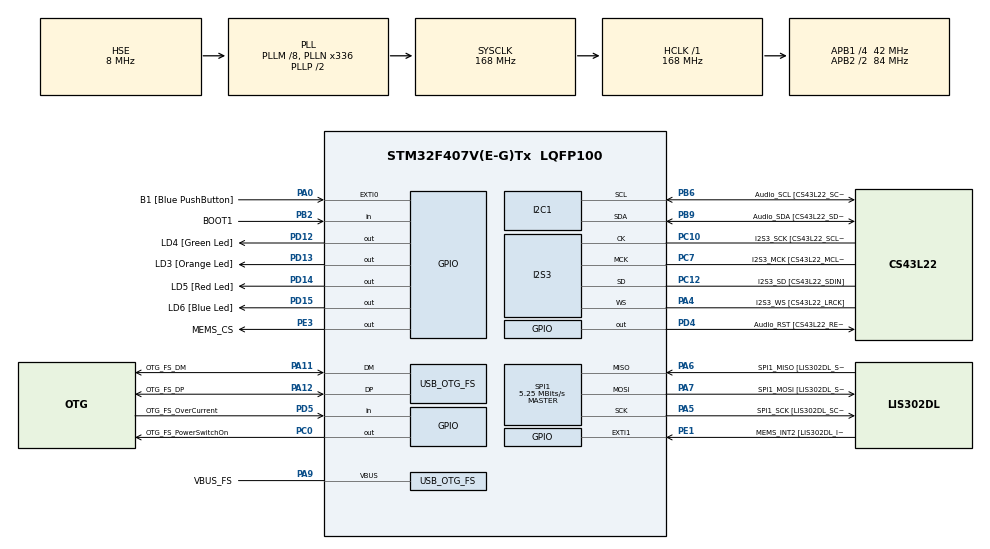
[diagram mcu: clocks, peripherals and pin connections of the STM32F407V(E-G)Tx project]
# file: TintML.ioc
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I2S3.AudioFreq-Half_Duplex_Master=I2S_AUDIOFREQ_96K
I2S3.ErrorAudioFreq=-2.34 %
I2S3.ErrorAudioFreq-Half_Duplex_Master=0.8 %
I2S3.FullDuplexMode=I2S_FULLDUPLEXMODE_DISABLE
I2S3.Instance=SPI$Index
I2S3.RealAudioFreq=93.75 KHz
I2S3.RealAudioFreq-Half_Duplex_Master=96.774 KHz
I2S3.VirtualMode=I2S_MODE_MASTER
Mcu.Family=STM32F4
Mcu.Name=STM32F407V(E-G)Tx
Mcu.Package=LQFP100
NVIC.OTG_FS_IRQn=true\:0\:0\:false\:false\:true\:true\:true\:true
NVIC.PriorityGroup=NVIC_PRIORITYGROUP_0
PA0-WKUP.GPIO_Label=B1 [Blue PushButton]
PA0-WKUP.GPIO_ModeDefaultEXTI=GPIO_MODE_EVT_RISING
PA0-WKUP.GPIO_PuPd=GPIO_NOPULL
PA0-WKUP.Signal=GPXTI0
PA10.GPIO_Label=OTG_FS_ID
PA10.GPIO_Mode=GPIO_MODE_AF_PP
PA10.GPIO_PuPd=GPIO_NOPULL
PA10.GPIO_Speed=GPIO_SPEED_FREQ_LOW
PA10.Signal=USB_OTG_FS_ID
PA11.GPIO_Label=OTG_FS_DM
PA11.GPIO_Mode=GPIO_MODE_AF_PP
PA11.GPIO_PuPd=GPIO_NOPULL
PA11.GPIO_Speed=GPIO_SPEED_FREQ_LOW
PA11.Mode=Device_Only
PA11.Signal=USB_OTG_FS_DM
PA12.GPIO_Label=OTG_FS_DP
PA12.GPIO_Mode=GPIO_MODE_AF_PP
PA12.GPIO_PuPd=GPIO_NOPULL
PA12.GPIO_Speed=GPIO_SPEED_FREQ_LOW
PA12.Mode=Device_Only
PA12.Signal=USB_OTG_FS_DP
PA13.GPIO_Label=SWDIO
PA13.Mode=Serial_Wire
PA13.Signal=SYS_JTMS-SWDIO
PA14.GPIO_Label=SWCLK
PA14.Mode=Serial_Wire
PA14.Signal=SYS_JTCK-SWCLK
PA4.GPIO_Label=I2S3_WS [CS43L22_LRCK]
PA4.GPIO_Mode=GPIO_MODE_AF_PP
PA4.GPIO_PuPd=GPIO_NOPULL
PA4.GPIO_Speed=GPIO_SPEED_FREQ_LOW
PA4.Mode=Half_Duplex_Master
PA4.Signal=I2S3_WS
PA5.GPIO_Label=SPI1_SCK [LIS302DL_SCL/SPC]
PA5.GPIO_Mode=GPIO_MODE_AF_PP
PA5.GPIO_PuPd=GPIO_NOPULL
PA5.GPIO_Speed=GPIO_SPEED_FREQ_LOW
PA5.Mode=Full_Duplex_Master
PA5.Signal=SPI1_SCK
PA6.GPIO_Label=SPI1_MISO [LIS302DL_SDO]
PA6.GPIO_Mode=GPIO_MODE_AF_PP
PA6.GPIO_PuPd=GPIO_NOPULL
PA6.GPIO_Speed=GPIO_SPEED_FREQ_LOW
PA6.Mode=Full_Duplex_Master
PA6.Signal=SPI1_MISO
PA7.GPIO_Label=SPI1_MOSI [LIS302DL_SDA/SDI/SDO]
PA7.GPIO_Mode=GPIO_MODE_AF_PP
PA7.GPIO_PuPd=GPIO_NOPULL
PA7.GPIO_Speed=GPIO_SPEED_FREQ_LOW
PA7.Mode=Full_Duplex_Master
PA7.Signal=SPI1_MOSI
PA9.GPIO_Label=VBUS_FS
PA9.GPIO_Mode=GPIO_MODE_INPUT
PA9.GPIO_PuPd=GPIO_NOPULL
PA9.Mode=Activate_VBUS
PA9.Signal=USB_OTG_FS_VBUS
PB10.GPIO_Label=CLK_IN [MP45DT02_CLK]
PB10.GPIO_Mode=GPIO_MODE_AF_PP
PB10.GPIO_PuPd=GPIO_NOPULL
PB10.GPIO_Speed=GPIO_SPEED_FREQ_LOW
PB10.Signal=I2S2_CK
PB2.GPIO_Label=BOOT1
PB2.GPIO_Mode=GPIO_MODE_INPUT
PB2.GPIO_PuPd=GPIO_NOPULL
PB2.Signal=GPIO_Input
PB3.GPIO_Label=SWO
PB3.Signal=SYS_JTDO-SWO
PB6.GPIO_Label=Audio_SCL [CS43L22_SCL]
PB6.GPIO_Mode=GPIO_MODE_AF_OD
PB6.GPIO_Pu=GPIO_PULLUP
PB6.GPIO_PuPd=GPIO_NOPULL
PB6.GPIO_Speed=GPIO_SPEED_FREQ_LOW
PB6.Mode=I2C
PB6.Signal=I2C1_SCL
PB9.GPIO_Label=Audio_SDA [CS43L22_SDA]
PB9.GPIO_Mode=GPIO_MODE_AF_OD
PB9.GPIO_Pu=GPIO_PULLUP
PB9.GPIO_PuPd=GPIO_NOPULL
PB9.GPIO_Speed=GPIO_SPEED_FREQ_LOW
PB9.Mode=I2C
PB9.Signal=I2C1_SDA
PC0.GPIO_Label=OTG_FS_PowerSwitchOn
PC0.GPIO_PuPd=GPIO_NOPULL
PC0.GPIO_Speed=GPIO_SPEED_FREQ_LOW
PC0.PinState=GPIO_PIN_SET
PC0.Signal=GPIO_Output
PC10.GPIO_Label=I2S3_SCK [CS43L22_SCLK]
PC10.GPIO_Mode=GPIO_MODE_AF_PP
PC10.GPIO_PuPd=GPIO_NOPULL
PC10.GPIO_Speed=GPIO_SPEED_FREQ_LOW
PC10.Mode=Half_Duplex_Master
PC10.Signal=I2S3_CK
PC12.GPIO_Label=I2S3_SD [CS43L22_SDIN]
PC12.GPIO_Mode=GPIO_MODE_AF_PP
PC12.GPIO_PuPd=GPIO_NOPULL
PC12.GPIO_Speed=GPIO_SPEED_FREQ_LOW
PC12.Mode=Half_Duplex_Master
PC12.Signal=I2S3_SD
PC14-OSC32_IN.GPIO_Label=PC14-OSC32_IN
PC14-OSC32_IN.Mode=LSE-External-Oscillator
PC14-OSC32_IN.Signal=RCC_OSC32_IN
PC15-OSC32_OUT.GPIO_Label=PC15-OSC32_OUT
PC15-OSC32_OUT.Mode=LSE-External-Oscillator
PC15-OSC32_OUT.Signal=RCC_OSC32_OUT
PC3.GPIO_Label=PDM_OUT [MP45DT02_DOUT]
PC3.GPIO_Mode=GPIO_MODE_AF_PP
PC3.GPIO_PuPd=GPIO_NOPULL
PC3.GPIO_Speed=GPIO_SPEED_FREQ_LOW
PC3.Signal=I2S2_SD
PC7.GPIO_Label=I2S3_MCK [CS43L22_MCLK]
PC7.GPIO_Mode=GPIO_MODE_AF_PP
PC7.GPIO_PuPd=GPIO_NOPULL
PC7.GPIO_Speed=GPIO_SPEED_FREQ_LOW
PC7.Mode=Master_Clock_Activated
PC7.Signal=I2S3_MCK
PD12.GPIO_Label=LD4 [Green Led]
PD12.GPIO_PuPd=GPIO_NOPULL
PD12.GPIO_Speed=GPIO_SPEED_FREQ_LOW
PD12.Signal=GPIO_Output
PD13.GPIO_Label=LD3 [Orange Led]
PD13.GPIO_PuPd=GPIO_NOPULL
PD13.GPIO_Speed=GPIO_SPEED_FREQ_LOW
PD13.Signal=GPIO_Output
PD14.GPIO_Label=LD5 [Red Led]
PD14.GPIO_PuPd=GPIO_NOPULL
PD14.GPIO_Speed=GPIO_SPEED_FREQ_LOW
PD14.Signal=GPIO_Output
PD15.GPIO_Label=LD6 [Blue Led]
PD15.GPIO_PuPd=GPIO_NOPULL
PD15.GPIO_Speed=GPIO_SPEED_FREQ_LOW
PD15.Signal=GPIO_Output
PD4.GPIO_Label=Audio_RST [CS43L22_RESET]
PD4.GPIO_PuPd=GPIO_NOPULL
PD4.GPIO_Speed=GPIO_SPEED_FREQ_LOW
PD4.Signal=GPIO_Output
PD5.GPIO_Label=OTG_FS_OverCurrent
PD5.GPIO_Mode=GPIO_MODE_INPUT
PD5.GPIO_PuPd=GPIO_NOPULL
PD5.Signal=GPIO_Input
PE1.GPIO_Label=MEMS_INT2 [LIS302DL_INT2]
PE1.GPIO_ModeDefaultEXTI=GPIO_MODE_EVT_RISING
PE1.GPIO_PuPd=GPIO_NOPULL
PE1.Signal=GPXTI1
PE3.GPIO_Label=MEMS_CS
PE3.Signal=GPIO_Output
PH0-OSC_IN.GPIO_Label=PH0-OSC_IN
PH0-OSC_IN.Mode=HSE-External-Oscillator
PH0-OSC_IN.Signal=RCC_OSC_IN
PH1-OSC_OUT.GPIO_Label=PH1-OSC_OUT
PH1-OSC_OUT.Mode=HSE-External-Oscillator
PH1-OSC_OUT.Signal=RCC_OSC_OUT
ProjectManager.HeapSize=0x200
ProjectManager.StackSize=0x400
ProjectManager.TargetToolchain=STM32CubeIDE
RCC.48MHZClocksFreq_Value=48000000
RCC.AHBFreq_Value=168000000
RCC.APB1CLKDivider=RCC_HCLK_DIV4
RCC.APB1Freq_Value=42000000
RCC.APB1TimFreq_Value=84000000
RCC.APB2CLKDivider=RCC_HCLK_DIV2
RCC.APB2Freq_Value=84000000
RCC.APB2TimFreq_Value=168000000
RCC.CortexFreq_Value=168000000
RCC.HCLKFreq_Value=168000000
RCC.HSE_VALUE=8000000
RCC.HSI_VALUE=16000000
RCC.PLLM=8
RCC.PLLN=336
RCC.PLLQ=7
RCC.SYSCLKFreq_VALUE=168000000
RCC.SYSCLKSource=RCC_SYSCLKSOURCE_PLLCLK
RCC.VCOOutputFreq_Value=336000000
SPI1.BaudRatePrescaler=SPI_BAUDRATEPRESCALER_16
SPI1.BaudRatePrescaler-Full_Duplex_Master=SPI_BAUDRATEPRESCALER_2
SPI1.CLKPhase=SPI_PHASE_2EDGE
SPI1.CLKPolarity=SPI_POLARITY_HIGH
SPI1.CalculateBaudRate=5.25 MBits/s
SPI1.CalculateBaudRate-Full_Duplex_Master=42.0 MBits/s
SPI1.Direction=SPI_DIRECTION_2LINES
SPI1.Mode=SPI_MODE_MASTER
SPI1.Mode-Full_Duplex_Master=SPI_MODE_MASTER
SPI1.VirtualType=VM_MASTER
USB_DEVICE.CLASS_NAME_FS=CDC
USB_DEVICE.VirtualMode-CDC_FS=Cdc
USB_DEVICE.VirtualModeFS=Cdc_FS
USB_OTG_FS.VirtualMode=Device_Only
VP_USB_DEVICE_VS_USB_DEVICE_CDC_FS.Mode=CDC_FS
board=STM32F407G-DISC1

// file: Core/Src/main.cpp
/* USER CODE BEGIN Header */
/**
  ******************************************************************************
  * @file           : main.cpp
  * @brief          : Main program body (LIS3DSH + Edge Impulse TinyML)
  ******************************************************************************
  * @attention
  *
  * Copyright (c) 2026 STMicroelectronics.
  * All rights reserved.
  *
  ******************************************************************************
  */
/* USER CODE END Header */
#include "main.h"
#include "usb_device.h"

/* Edge Impulse Kütüphaneleri */
#include "model-parameters/model_metadata.h"
#include "edge-impulse-sdk/classifier/ei_run_classifier.h"

/* Edge Impulse Porting Functions */
#include <stdarg.h>
#include <stdlib.h>
#include <stdio.h>
#include "usbd_cdc_if.h" // USB Haberleşmesi
#include <string.h>      // strlen için

// Edge Impulse'ın C++ fonksiyonları (extern "C" sarmalayıcısı olmadan)
void *ei_malloc(size_t size) { return malloc(size); }
void *ei_calloc(size_t nitems, size_t size) { return calloc(nitems, size); }
void ei_free(void *ptr) { free(ptr); }

// Yapay zeka loglarını doğrudan USB üzerinden Terminale (Tera Term) gönderir
void ei_printf(const char *format, ...) {
    char print_buffer[128];
    va_list myargs;
    va_start(myargs, format);
    vsnprintf(print_buffer, sizeof(print_buffer), format, myargs);
    va_end(myargs);
    CDC_Transmit_FS((uint8_t*)print_buffer, strlen(print_buffer));
    HAL_Delay(5); // USB'nin veriyi yollaması için küçük bir nefes payı
}

void ei_printf_float(float f) {
    ei_printf("%f", f);
}

uint64_t ei_read_timer_ms() { return HAL_GetTick(); }
uint64_t ei_read_timer_us() { return (uint64_t)HAL_GetTick() * 1000; }

EI_IMPULSE_ERROR ei_run_impulse_check_canceled() {
    return EI_IMPULSE_OK;
}

/* USER CODE BEGIN PD */
// --- LIS3DSH Register Tanımları ---
#define WHO_AM_I_ADDR     0x0F
#define CTRL_REG4_ADDR    0x20
#define CTRL_REG5_ADDR    0x24
#define OUT_X_L_ADDR      0x28
/* USER CODE END PD */

I2C_HandleTypeDef hi2c1;

I2S_HandleTypeDef hi2s3;

SPI_HandleTypeDef hspi1;

/* USER CODE BEGIN PV */
char msg_buffer[64];
extern SPI_HandleTypeDef hspi1;

/* Inference (Yapay Zeka) Değişkenleri */
static float features[EI_CLASSIFIER_DSP_INPUT_FRAME_SIZE];
size_t feature_ix = 0;
/* USER CODE END PV */

void SystemClock_Config(void);
static void MX_GPIO_Init(void);
static void MX_I2C1_Init(void);
static void MX_I2S3_Init(void);
static void MX_SPI1_Init(void);

/* USER CODE BEGIN 0 */

// --- LIS3DSH YAZMA FONKSİYONU ---
void LIS3DSH_Write(uint8_t reg, uint8_t data) {
    uint8_t txData[2];
    txData[0] = reg;       // Yazma işlemi (MSB 0)
    txData[1] = data;

    // CS Pinini Low yap (Seç) -> PE3
    HAL_GPIO_WritePin(GPIOE, GPIO_PIN_3, GPIO_PIN_RESET);
    // Veriyi gönder
    HAL_SPI_Transmit(&hspi1, txData, 2, 100);
    // CS Pinini High yap (Bırak) -> PE3
    HAL_GPIO_WritePin(GPIOE, GPIO_PIN_3, GPIO_PIN_SET);
}

// --- LIS3DSH OKUMA FONKSİYONU ---
void LIS3DSH_Read(uint8_t reg, uint8_t *data, uint8_t count) {
    // Okuma işlemi için MSB bitini 1 yapmalıyız (0x80 | reg)
    uint8_t addr = reg | 0x80;

    // CS Low (Seç)
    HAL_GPIO_WritePin(GPIOE, GPIO_PIN_3, GPIO_PIN_RESET);

    // 1. Adresi Gönder
    HAL_SPI_Transmit(&hspi1, &addr, 1, 100);
    // 2. Veriyi Al
    HAL_SPI_Receive(&hspi1, data, count, 100);

    // CS High (Bırak)
    HAL_GPIO_WritePin(GPIOE, GPIO_PIN_3, GPIO_PIN_SET);
}
/* USER CODE END 0 */

int main(void)
{

  /* MCU Configuration--------------------------------------------------------*/

  /* Reset of all peripherals, Initializes the Flash interface and the Systick. */
  HAL_Init();

  /* Configure the system clock */
  SystemClock_Config();

  /* Initialize all configured peripherals */
  MX_GPIO_Init();
  MX_I2C1_Init();
  MX_I2S3_Init();
  MX_SPI1_Init();
  MX_USB_DEVICE_Init();
  /* USER CODE BEGIN 2 */

  HAL_Delay(2000); // Sistem ve USB'nin oturması için bekle

  // Sensörün CS pini konuşma yokken HIGH olmalıdır.
  HAL_GPIO_WritePin(GPIOE, GPIO_PIN_3, GPIO_PIN_SET);
  HAL_Delay(100);

  uint8_t ctrl_val = 0;
  uint8_t chip_id = 0;
  int retry_count = 0;

  // 1. ID KONTROLÜ
  LIS3DSH_Read(WHO_AM_I_ADDR, &chip_id, 1);

  // 2. AYARLARI ZORLA KABUL ETTİRME DÖNGÜSÜ
  while(ctrl_val != 0x67 && retry_count < 10) {
      // Ayar Gönder: 100Hz, XYZ Aktif
      LIS3DSH_Write(CTRL_REG4_ADDR, 0x67);
      HAL_Delay(10);

      // Ayar Gönder: +/- 8g (Kilitlenmeyi önler)
      LIS3DSH_Write(CTRL_REG5_ADDR, 0x18);
      HAL_Delay(10);

      // KONTROL ET: Yazdığımızı okuyalım
      LIS3DSH_Read(CTRL_REG4_ADDR, &ctrl_val, 1);

      if(ctrl_val != 0x67) {
          retry_count++;
          HAL_Delay(50);
      }
  }

  // DURUM RAPORU
  if (ctrl_val == 0x67) {
      HAL_GPIO_WritePin(GPIOD, GPIO_PIN_15, GPIO_PIN_SET); // Mavi LED
      sprintf(msg_buffer, "Sensor Hazir (ID:%02X). TinyML Basliyor...\r\n", chip_id);
  } else {
      HAL_GPIO_WritePin(GPIOD, GPIO_PIN_14, GPIO_PIN_SET); // Kırmızı LED
      sprintf(msg_buffer, "HATA: Sensor Ayari Almadi! (Okunan: %02X)\r\n", ctrl_val);
  }

  CDC_Transmit_FS((uint8_t*)msg_buffer, strlen(msg_buffer));
  HAL_Delay(2000);

  /* USER CODE END 2 */

  /* Infinite loop */
    while (1)
    {

      /* USER CODE BEGIN 3 */
      uint8_t xl, xh, yl, yh, zl, zh;
      int16_t x_val, y_val, z_val;

      if (ctrl_val == 0x67) {
          // 1. SENSÖRDEN VERİ OKU
          LIS3DSH_Read(0x28, &xl, 1);
          LIS3DSH_Read(0x29, &xh, 1);
          x_val = (int16_t)((xh << 8) | xl);

          LIS3DSH_Read(0x2A, &yl, 1);
          LIS3DSH_Read(0x2B, &yh, 1);
          y_val = (int16_t)((yh << 8) | yl);

          LIS3DSH_Read(0x2C, &zl, 1);
          LIS3DSH_Read(0x2D, &zh, 1);
          z_val = (int16_t)((zh << 8) | zl);

          // 2. ÇARPAN YOK: Grafikteki gibi Ham (Raw) veriyi ekliyoruz
          features[feature_ix++] = (float)x_val;
          features[feature_ix++] = (float)y_val;
          features[feature_ix++] = (float)z_val;

          // 3. BUFFER DOLDUYSA TAHMİN (INFERENCE) YAP
		  if (feature_ix >= EI_CLASSIFIER_DSP_INPUT_FRAME_SIZE) {

			  ei_printf("\n[TEST] Son Okunan Z: %d\r\n", z_val); // Sadece Z'yi görsek yeter

			  signal_t signal;
			  int err = numpy::signal_from_buffer(features, EI_CLASSIFIER_DSP_INPUT_FRAME_SIZE, &signal);

			  if (err == 0) {
				  ei_impulse_result_t result = { 0 };
				  EI_IMPULSE_ERROR res = run_classifier(&signal, &result, false);

				  if (res == EI_IMPULSE_OK) {
					  float en_yuksek_skor = 0.0f;
					  const char* algilanan_hareket = "Bilinmiyor";

					  // En yüksek skoru bul
					  for (size_t ix = 0; ix < EI_CLASSIFIER_LABEL_COUNT; ix++) {
						  if (result.classification[ix].value > en_yuksek_skor) {
							  en_yuksek_skor = result.classification[ix].value;
							  algilanan_hareket = result.classification[ix].label;
						  }
					  }

					  int tam = (int)en_yuksek_skor;
					  int ondalik = (int)((en_yuksek_skor - tam) * 100);

					  // SÜSSÜZ VE TERTEMİZ ÇIKTI:
					  ei_printf("-> Tahmin: %s (%d.%02d)\r\n", algilanan_hareket, tam, ondalik);
				  }
			  }

			  // Buffer'ı sıfırla, yeni hareketi dinlemeye baştan başla
			  feature_ix = 0;

          }

          HAL_GPIO_TogglePin(GPIOD, GPIO_PIN_15); // Mavi LED kalp atışı
      } else {
          HAL_GPIO_TogglePin(GPIOD, GPIO_PIN_14); // Hata LED'i
      }

      // İŞTE BÜTÜN DENGEYİ SAĞLAYAN SATIR: Tekrar 100Hz (10ms) gecikmeye döndük!
      HAL_Delay(10);
    }
    /* USER CODE END 3 */
}

void SystemClock_Config(void)
{
  RCC_OscInitTypeDef RCC_OscInitStruct = {0};
  RCC_ClkInitTypeDef RCC_ClkInitStruct = {0};

  /** Configure the main internal regulator output voltage
  */
  __HAL_RCC_PWR_CLK_ENABLE();
  __HAL_PWR_VOLTAGESCALING_CONFIG(PWR_REGULATOR_VOLTAGE_SCALE1);

  /** Initializes the RCC Oscillators according to the specified parameters
  * in the RCC_OscInitTypeDef structure.
  */
  RCC_OscInitStruct.OscillatorType = RCC_OSCILLATORTYPE_HSE;
  RCC_OscInitStruct.HSEState = RCC_HSE_ON;
  RCC_OscInitStruct.PLL.PLLState = RCC_PLL_ON;
  RCC_OscInitStruct.PLL.PLLSource = RCC_PLLSOURCE_HSE;
  RCC_OscInitStruct.PLL.PLLM = 8;
  RCC_OscInitStruct.PLL.PLLN = 336;
  RCC_OscInitStruct.PLL.PLLP = RCC_PLLP_DIV2;
  RCC_OscInitStruct.PLL.PLLQ = 7;
  if (HAL_RCC_OscConfig(&RCC_OscInitStruct) != HAL_OK)
  {
    Error_Handler();
  }

  /** Initializes the CPU, AHB and APB buses clocks
  */
  RCC_ClkInitStruct.ClockType = RCC_CLOCKTYPE_HCLK|RCC_CLOCKTYPE_SYSCLK
                              |RCC_CLOCKTYPE_PCLK1|RCC_CLOCKTYPE_PCLK2;
  RCC_ClkInitStruct.SYSCLKSource = RCC_SYSCLKSOURCE_PLLCLK;
  RCC_ClkInitStruct.AHBCLKDivider = RCC_SYSCLK_DIV1;
  RCC_ClkInitStruct.APB1CLKDivider = RCC_HCLK_DIV4;
  RCC_ClkInitStruct.APB2CLKDivider = RCC_HCLK_DIV2;

  if (HAL_RCC_ClockConfig(&RCC_ClkInitStruct, FLASH_LATENCY_5) != HAL_OK)
  {
    Error_Handler();
  }
}

static void MX_I2C1_Init(void)
{

  hi2c1.Instance = I2C1;
  hi2c1.Init.ClockSpeed = 100000;
  hi2c1.Init.DutyCycle = I2C_DUTYCYCLE_2;
  hi2c1.Init.OwnAddress1 = 0;
  hi2c1.Init.AddressingMode = I2C_ADDRESSINGMODE_7BIT;
  hi2c1.Init.DualAddressMode = I2C_DUALADDRESS_DISABLE;
  hi2c1.Init.OwnAddress2 = 0;
  hi2c1.Init.GeneralCallMode = I2C_GENERALCALL_DISABLE;
  hi2c1.Init.NoStretchMode = I2C_NOSTRETCH_DISABLE;
  if (HAL_I2C_Init(&hi2c1) != HAL_OK)
  {
    Error_Handler();
  }

}

static void MX_I2S3_Init(void)
{

  hi2s3.Instance = SPI3;
  hi2s3.Init.Mode = I2S_MODE_MASTER_TX;
  hi2s3.Init.Standard = I2S_STANDARD_PHILIPS;
  hi2s3.Init.DataFormat = I2S_DATAFORMAT_16B;
  hi2s3.Init.MCLKOutput = I2S_MCLKOUTPUT_ENABLE;
  hi2s3.Init.AudioFreq = I2S_AUDIOFREQ_96K;
  hi2s3.Init.CPOL = I2S_CPOL_LOW;
  hi2s3.Init.ClockSource = I2S_CLOCK_PLL;
  hi2s3.Init.FullDuplexMode = I2S_FULLDUPLEXMODE_DISABLE;
  if (HAL_I2S_Init(&hi2s3) != HAL_OK)
  {
    Error_Handler();
  }

}

static void MX_SPI1_Init(void)
{

  /* SPI1 parameter configuration*/
  hspi1.Instance = SPI1;
  hspi1.Init.Mode = SPI_MODE_MASTER;
  hspi1.Init.Direction = SPI_DIRECTION_2LINES;
  hspi1.Init.DataSize = SPI_DATASIZE_8BIT;
  hspi1.Init.CLKPolarity = SPI_POLARITY_HIGH;
  hspi1.Init.CLKPhase = SPI_PHASE_2EDGE;
  hspi1.Init.NSS = SPI_NSS_SOFT;
  hspi1.Init.BaudRatePrescaler = SPI_BAUDRATEPRESCALER_16;
  hspi1.Init.FirstBit = SPI_FIRSTBIT_MSB;
  hspi1.Init.TIMode = SPI_TIMODE_DISABLE;
  hspi1.Init.CRCCalculation = SPI_CRCCALCULATION_DISABLE;
  hspi1.Init.CRCPolynomial = 10;
  if (HAL_SPI_Init(&hspi1) != HAL_OK)
  {
    Error_Handler();
  }

}

static void MX_GPIO_Init(void)
{
  GPIO_InitTypeDef GPIO_InitStruct = {0};

  /* GPIO Ports Clock Enable */
  __HAL_RCC_GPIOE_CLK_ENABLE();
  __HAL_RCC_GPIOC_CLK_ENABLE();
  __HAL_RCC_GPIOH_CLK_ENABLE();
  __HAL_RCC_GPIOA_CLK_ENABLE();
  __HAL_RCC_GPIOB_CLK_ENABLE();
  __HAL_RCC_GPIOD_CLK_ENABLE();

  /*Configure GPIO pin Output Level */
  HAL_GPIO_WritePin(MEMS_CS_GPIO_Port, MEMS_CS_Pin, GPIO_PIN_RESET);

  /*Configure GPIO pin Output Level */
  HAL_GPIO_WritePin(OTG_FS_PowerSwitchOn_GPIO_Port, OTG_FS_PowerSwitchOn_Pin, GPIO_PIN_SET);

  /*Configure GPIO pin Output Level */
  HAL_GPIO_WritePin(GPIOD, LD4_Pin|LD3_Pin|LD5_Pin|LD6_Pin
                          |Audio_RST_Pin, GPIO_PIN_RESET);

  /*Configure GPIO pin : MEMS_CS_Pin */
  GPIO_InitStruct.Pin = MEMS_CS_Pin;
  GPIO_InitStruct.Mode = GPIO_MODE_OUTPUT_PP;
  GPIO_InitStruct.Pull = GPIO_NOPULL;
  GPIO_InitStruct.Speed = GPIO_SPEED_FREQ_LOW;
  HAL_GPIO_Init(MEMS_CS_GPIO_Port, &GPIO_InitStruct);

  /*Configure GPIO pin : OTG_FS_PowerSwitchOn_Pin */
  GPIO_InitStruct.Pin = OTG_FS_PowerSwitchOn_Pin;
  GPIO_InitStruct.Mode = GPIO_MODE_OUTPUT_PP;
  GPIO_InitStruct.Pull = GPIO_NOPULL;
  GPIO_InitStruct.Speed = GPIO_SPEED_FREQ_LOW;
  HAL_GPIO_Init(OTG_FS_PowerSwitchOn_GPIO_Port, &GPIO_InitStruct);

  /*Configure GPIO pin : PDM_OUT_Pin */
  GPIO_InitStruct.Pin = PDM_OUT_Pin;
  GPIO_InitStruct.Mode = GPIO_MODE_AF_PP;
  GPIO_InitStruct.Pull = GPIO_NOPULL;
  GPIO_InitStruct.Speed = GPIO_SPEED_FREQ_LOW;
  GPIO_InitStruct.Alternate = GPIO_AF5_SPI2;
  HAL_GPIO_Init(PDM_OUT_GPIO_Port, &GPIO_InitStruct);

  /*Configure GPIO pin : B1_Pin */
  GPIO_InitStruct.Pin = B1_Pin;
  GPIO_InitStruct.Mode = GPIO_MODE_EVT_RISING;
  GPIO_InitStruct.Pull = GPIO_NOPULL;
  HAL_GPIO_Init(B1_GPIO_Port, &GPIO_InitStruct);

  /*Configure GPIO pin : BOOT1_Pin */
  GPIO_InitStruct.Pin = BOOT1_Pin;
  GPIO_InitStruct.Mode = GPIO_MODE_INPUT;
  GPIO_InitStruct.Pull = GPIO_NOPULL;
  HAL_GPIO_Init(BOOT1_GPIO_Port, &GPIO_InitStruct);

  /*Configure GPIO pin : CLK_IN_Pin */
  GPIO_InitStruct.Pin = CLK_IN_Pin;
  GPIO_InitStruct.Mode = GPIO_MODE_AF_PP;
  GPIO_InitStruct.Pull = GPIO_NOPULL;
  GPIO_InitStruct.Speed = GPIO_SPEED_FREQ_LOW;
  GPIO_InitStruct.Alternate = GPIO_AF5_SPI2;
  HAL_GPIO_Init(CLK_IN_GPIO_Port, &GPIO_InitStruct);

  /*Configure GPIO pins : LD4_Pin LD3_Pin LD5_Pin LD6_Pin
                           Audio_RST_Pin */
  GPIO_InitStruct.Pin = LD4_Pin|LD3_Pin|LD5_Pin|LD6_Pin
                          |Audio_RST_Pin;
  GPIO_InitStruct.Mode = GPIO_MODE_OUTPUT_PP;
  GPIO_InitStruct.Pull = GPIO_NOPULL;
  GPIO_InitStruct.Speed = GPIO_SPEED_FREQ_LOW;
  HAL_GPIO_Init(GPIOD, &GPIO_InitStruct);

  /*Configure GPIO pin : OTG_FS_OverCurrent_Pin */
  GPIO_InitStruct.Pin = OTG_FS_OverCurrent_Pin;
  GPIO_InitStruct.Mode = GPIO_MODE_INPUT;
  GPIO_InitStruct.Pull = GPIO_NOPULL;
  HAL_GPIO_Init(OTG_FS_OverCurrent_GPIO_Port, &GPIO_InitStruct);

  /*Configure GPIO pin : MEMS_INT2_Pin */
  GPIO_InitStruct.Pin = MEMS_INT2_Pin;
  GPIO_InitStruct.Mode = GPIO_MODE_EVT_RISING;
  GPIO_InitStruct.Pull = GPIO_NOPULL;
  HAL_GPIO_Init(MEMS_INT2_GPIO_Port, &GPIO_InitStruct);

}

void Error_Handler(void)
{
  __disable_irq();
  while (1)
  {
  }
}
